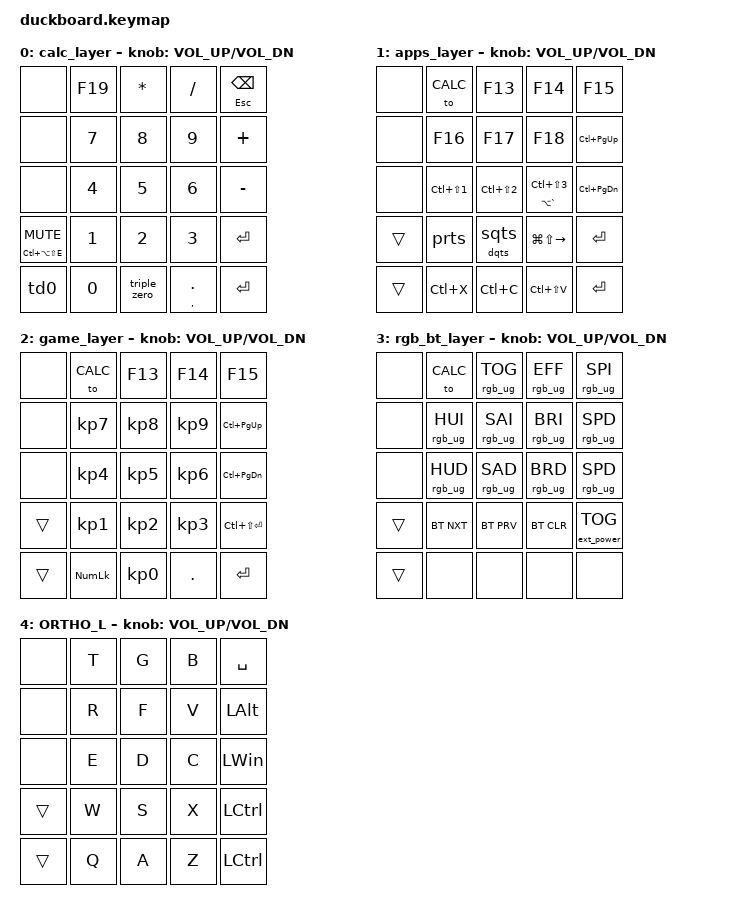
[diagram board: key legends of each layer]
/* Copyright (c) 2020 The ZMK Contributors
 * SPDX-License-Identifier: MIT
 *
 * Author: Edited from Jack Hartstein
 */

#include <behaviors.dtsi>
#include <dt-bindings/zmk/keys.h>
#include <dt-bindings/zmk/rgb.h>
#include <dt-bindings/zmk/bt.h>
#include <dt-bindings/zmk/ext_power.h>
#include <dt-bindings/zmk/outputs.h>
#include <dt-bindings/led/led.h>

#define CALC 0
#define APPS 1
#define GAME 2
#define RGB_BT 3
#define ORTHO_L 4
 
#define TIMEOUT 200

/ {

    behaviors {
      td0: tap_dance_0 {
          compatible = "zmk,behavior-tap-dance";
          label = "TAP_DANCE_0";
          #binding-cells = <0>;
          tapping-term-ms = <200>;
          bindings = <&to APPS>, <&to GAME>;
      };

      td1: tap_dance_1 {
          compatible = "zmk,behavior-tap-dance";
          label = "TAP_DANCE_1";
          #binding-cells = <0>;
          tapping-term-ms = <500>;
          #bindings = <&mt B A>, <&kp C>, <&kp D>;
          bindings = <&kp LC(LS(NUMBER_1))>, <&kp LC(LS(N2))>, <&kp LC(LS(N3))>;
      };

      qts:quotes {
          compatible = "zmk,behavior-hold-tap";
          label = "QUOTATION_MARKS";
          #binding-cells = <2>;
          flavor = "hold-preferred";
          tapping-term-ms = <200>;
          bindings = <&dqts>, <&sqts>;
      };

  };

    macros {
            triple_zero: triple_zero {
                label = "triple_zero";
                compatible = "zmk,behavior-macro";
                #binding-cells = <0>;
                wait-ms = <40>;
                tap-ms = <40>;
                bindings = <&kp NUMBER_0 &kp NUMBER_0 &kp NUMBER_0>;
            };

            prts: parentheses {
                label = "PARENTHESES";
                compatible = "zmk,behavior-macro";
                #binding-cells = <0>;
                wait-ms = <40>;
                tap-ms = <40>;
                bindings
                      = <&kp LPAR &kp RPAR>
                      , <&kp LEFT>;
            };

            dqts: double_quotes {
                label = "DOUBLE_QUOTES";
                compatible = "zmk,behavior-macro";
                #binding-cells = <0>;
                wait-ms = <40>;
                tap-ms = <40>;
                bindings
                      = <&kp DQT &kp DQT>
                      , <&kp LEFT>;
            };

            sqts: single_quotes {
                label = "SINGLE_QUOTES";
                compatible = "zmk,behavior-macro";
                #binding-cells = <0>;
                wait-ms = <40>;
                tap-ms = <40>;
                bindings
                      = <&kp SQT &kp SQT>
                      , <&kp LEFT>;
            };
        };

    combos {
        compatible = "zmk,combos";
        combo_bootloader {
            timeout-ms = <TIMEOUT>;
            key-positions = <1 4>;
            bindings = <&bootloader>;
        };
        combo_reset {
            timeout-ms = <TIMEOUT>;
            key-positions = <1 3>;
            bindings = <&reset>;
        };

        combo_btnxt {
            timeout-ms = <TIMEOUT>;
            key-positions = <1 6>;
            bindings = <&bt BT_NXT>;
        };
        combo_btprv {
            timeout-ms = <TIMEOUT>;
            key-positions = <1 7>;
            bindings = <&bt BT_PRV>;
        };
        combo_btclr {
            timeout-ms = <TIMEOUT>;
            key-positions = <1 8>;
            bindings = <&bt BT_CLR>;
        };

        combo_layer0 {
            timeout-ms = <TIMEOUT>;
            key-positions = <1 16>;
            bindings = <&to CALC>;
        };
        combo_layer1 {
            timeout-ms = <TIMEOUT>;
            key-positions = <1 17>;
            bindings = <&to APPS>;
        };
        combo_layer2 {
            timeout-ms = <TIMEOUT>;
            key-positions = <1 18>;
            bindings = <&to GAME>;
        };

        combo_layer3 {
            timeout-ms = <TIMEOUT>;
            key-positions = <1 11>;
            bindings = <&to RGB_BT>;
        };

        combo_layer4 {
            timeout-ms = <TIMEOUT>;
            key-positions = <1 12>;
            bindings = <&to ORTHO_L>;
        };

        combo_rgb {
            timeout-ms = <TIMEOUT>;
            key-positions = <1 21>;
            bindings = <&rgb_ug RGB_TOG>;
        };

        combo_JPKey {
            timeout-ms = <TIMEOUT>;
            key-positions = <11 13>;
            bindings = <&kp LA(GRAVE)>;
        };

    };

    keymap {
        compatible = "zmk,keymap";

        calc_layer {
            bindings = <
                &none           &kp F19        &kp ASTERISK   &kp SLASH       &mt ESC BACKSPACE
                &none           &kp NUMBER_7   &kp NUMBER_8   &kp NUMBER_9    &kp PLUS
                &none           &kp NUMBER_4   &kp NUMBER_5   &kp NUMBER_6    &kp MINUS
                &mt LC(LA(LS(E))) C_MUTE      &kp NUMBER_1   &kp NUMBER_2   &kp NUMBER_3    &kp ENTER
                &td0            &kp NUMBER_0   &triple_zero   &mt COMMA DOT   &kp ENTER
            >;

            sensor-bindings = <&inc_dec_kp C_VOL_UP C_VOL_DN>;
        };

        apps_layer {
            bindings = <
               &none            &to CALC         &kp F13          &kp F14          &kp F15
               &none            &kp F16          &kp F17          &kp F18          &kp LC(PG_UP)
               &none            &kp LC(LS(NUMBER_1)) &kp LC(LS(NUMBER_2))  &mt LA(GRAVE) LC(LS(NUMBER_3))   &kp LC(PG_DN)
               &trans           &prts            &qts 0 0         &kp LG(LS(RIGHT))  &kp ENTER
               &trans           &kp LC(X)        &kp LC(C)        &kp LC(LS(V))      &kp ENTER
           >;

           sensor-bindings = <&inc_dec_kp C_VOL_UP C_VOL_DN>;
        };

        game_layer {
            bindings = <
               &none           &to CALC       &kp F13        &kp F14          &kp F15
               &none           &kp KP_N7      &kp KP_N8      &kp KP_N9        &kp LC(PG_UP)
               &none           &kp KP_N4      &kp KP_N5      &kp KP_N6        &kp LC(PG_DN)
               &trans          &kp KP_N1      &kp KP_N2      &kp KP_N3        &kp LC(LS(ENTER))
               &trans          &kp KP_NUMLOCK &kp KP_N0      &kp DOT          &kp ENTER
           >;

           sensor-bindings = <&inc_dec_kp C_VOL_UP C_VOL_DN>;
        };

        rgb_bt_layer {
             bindings = <
                &none          &to CALC           &rgb_ug RGB_TOG  &rgb_ug RGB_EFF  &rgb_ug RGB_SPI
                &none          &rgb_ug RGB_HUI  &rgb_ug RGB_SAI  &rgb_ug RGB_BRI  &rgb_ug RGB_SPD
                &none          &rgb_ug RGB_HUD  &rgb_ug RGB_SAD  &rgb_ug RGB_BRD  &rgb_ug RGB_SPD
                &trans         &bt BT_NXT       &bt BT_PRV       &bt BT_CLR       &ext_power EP_TOG
                &trans         &none            &none            &none            &none
            >;

            sensor-bindings = <&inc_dec_kp C_VOL_UP C_VOL_DN>;
        };

        ORTHO_L {
            bindings = <
               &none           &kp T      &kp G      &kp B       &kp SPACE
               &none           &kp R      &kp F      &kp V       &kp LALT
               &none           &kp E      &kp D      &kp C       &kp LWIN
               &trans          &kp W      &kp S      &kp X       &kp LCTRL
               &trans          &kp Q      &kp A      &kp Z       &kp LCTRL
            >;

            sensor-bindings = <&inc_dec_kp C_VOL_UP C_VOL_DN>;
         };

    };
};
